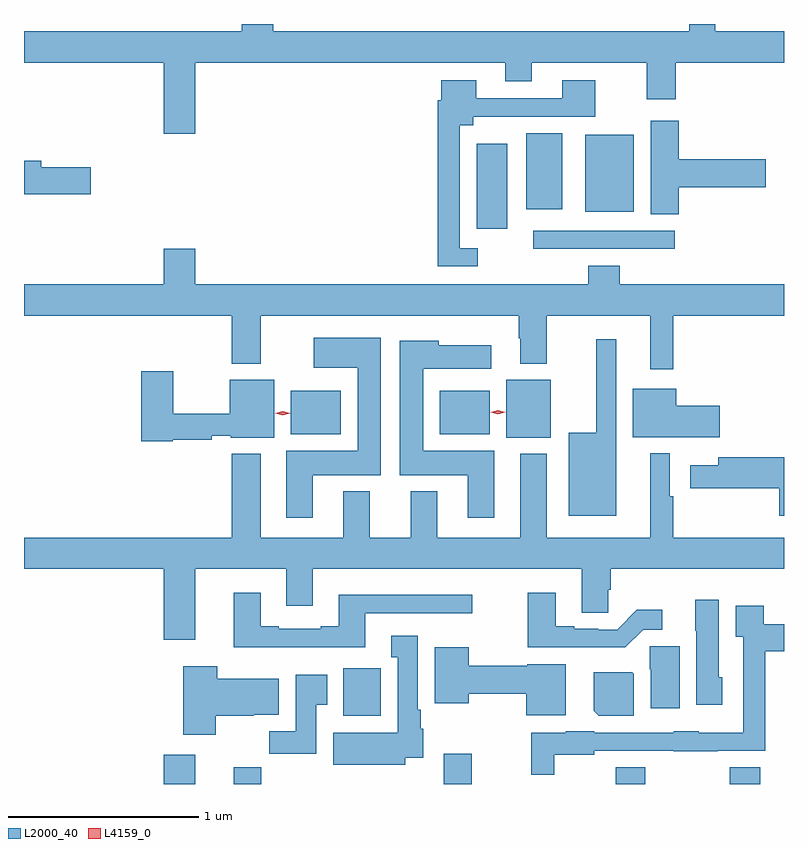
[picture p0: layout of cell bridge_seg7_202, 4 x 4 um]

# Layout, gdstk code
import gdstk
lib = gdstk.Library(unit=1e-6, precision=1e-09)
def R(c, l, rs):  # rectangles x0, y0, x1, y1
    for r in rs: c.add(gdstk.rectangle(r[:2], r[2:], *l))
def P(c, l, *ps):  # polygons
    for p in ps: c.add(gdstk.Polygon(p, *l))
L2000_40 = (2000, 40)
L4159_0 = (4159, 0)

bridge_seg7_202 = lib.new_cell('bridge_seg7_202')
R(bridge_seg7_202, L2000_40, [(224.948,1014.135,225.112,1014.289), (225.317,1014.135,225.461,1014.224), (226.421,1014.135,226.569,1014.295), (227.326,1014.135,227.481,1014.224), (227.926,1014.135,228.086,1014.224), (225.893,1014.494,226.089,1014.745), (226.751,1015.958,226.984,1016.263), (225.617,1015.976,225.88,1016.206), (226.4,1015.976,226.663,1016.206), (226.893,1016.952,227.638,1017.048), (226.595,1017.057,226.756,1017.505), (227.165,1017.146,227.422,1017.553), (226.856,1017.161,227.044,1017.559)])
P(bridge_seg7_202, L2000_40, [(225.112,1017.932),(226.745,1017.932),(226.745,1017.833),(226.885,1017.833),(226.885,1017.932),(227.489,1017.932),(227.489,1017.738),(227.642,1017.738),(227.642,1017.932),(228.212,1017.932),(228.212,1018.096),(227.849,1018.096),(227.849,1018.135),(227.713,1018.135),(227.713,1018.096),(225.524,1018.096),(225.524,1018.135),(225.359,1018.135),(225.359,1018.096),(224.212,1018.096),(224.212,1017.932),(224.948,1017.932),(224.948,1017.558),(225.112,1017.558)],
  [(226.6,1016.955),(226.506,1016.955),(226.506,1017.602),(226.576,1017.602),(226.576,1017.648),(227.218,1017.648),(227.218,1017.838),(227.045,1017.838),(227.045,1017.744),(226.591,1017.744),(226.591,1017.838),(226.409,1017.838),(226.409,1017.734),(226.39,1017.734),(226.39,1016.859),(226.6,1016.859)],
  [(227.657,1017.275),(228.115,1017.275),(228.115,1017.422),(227.657,1017.422),(227.657,1017.625),(227.51,1017.625),(227.51,1017.133),(227.657,1017.133)],
  [(224.563,1017.38),(224.302,1017.38),(224.302,1017.416),(224.212,1017.416),(224.212,1017.238),(224.563,1017.238)],
  [(227.629,1016.6),(228.212,1016.6),(228.212,1016.764),(227.348,1016.764),(227.348,1016.863),(227.183,1016.863),(227.183,1016.764),(225.112,1016.764),(225.112,1016.953),(224.948,1016.953),(224.948,1016.764),(224.212,1016.764),(224.212,1016.6),(225.305,1016.6),(225.305,1016.348),(225.457,1016.348),(225.457,1016.6),(226.816,1016.6),(226.816,1016.48),(226.823,1016.48),(226.823,1016.348),(226.963,1016.348),(226.963,1016.6),(227.507,1016.6),(227.507,1016.319),(227.629,1016.319)],
  [(225.733,1015.76),(226.09,1015.76),(226.09,1016.485),(225.738,1016.485),(225.738,1016.327),(225.968,1016.327),(225.968,1015.888),(225.593,1015.888),(225.593,1015.536),(225.733,1015.536)],
  [(227.329,1016.476),(227.225,1016.476),(227.225,1015.984),(227.078,1015.984),(227.078,1015.547),(227.329,1015.547)],
  [(226.687,1015.888),(226.312,1015.888),(226.312,1016.321),(226.672,1016.321),(226.672,1016.443),(226.395,1016.443),(226.395,1016.467),(226.19,1016.467),(226.19,1015.76),(226.547,1015.76),(226.547,1015.536),(226.687,1015.536)],
  [(224.994,1015.948),(225.2,1015.948),(225.2,1015.968),(225.3,1015.968),(225.3,1015.958),(225.529,1015.958),(225.529,1016.263),(225.296,1016.263),(225.296,1016.084),(224.998,1016.084),(224.998,1016.308),(224.828,1016.308),(224.828,1015.94),(224.994,1015.94)],
  [(227.875,1016.127),(227.644,1016.127),(227.644,1016.215),(227.417,1016.215),(227.417,1015.961),(227.875,1015.961)],
  [(225.112,1015.268),(225.593,1015.268),(225.593,1015.074),(225.733,1015.074),(225.733,1015.268),(227.147,1015.268),(227.147,1015.036),(227.286,1015.036),(227.286,1015.158),(227.3,1015.158),(227.3,1015.268),(228.212,1015.268),(228.212,1015.432),(227.629,1015.432),(227.629,1015.649),(227.611,1015.649),(227.611,1015.876),(227.507,1015.876),(227.507,1015.432),(226.963,1015.432),(226.963,1015.873),(226.823,1015.873),(226.823,1015.432),(226.387,1015.432),(226.387,1015.675),(226.247,1015.675),(226.247,1015.432),(226.033,1015.432),(226.033,1015.675),(225.893,1015.675),(225.893,1015.432),(225.457,1015.432),(225.457,1015.873),(225.305,1015.873),(225.305,1015.432),(224.212,1015.432),(224.212,1015.268),(224.948,1015.268),(224.948,1014.894),(225.112,1014.894)],
  [(228.212,1015.856),(227.867,1015.856),(227.867,1015.813),(227.718,1015.813),(227.718,1015.691),(228.188,1015.691),(228.188,1015.547),(228.212,1015.547)],
  [(227.472,1014.948),(227.572,1014.948),(227.572,1015.051),(227.437,1015.051),(227.334,1014.948),(227.234,1014.948),(227.234,1014.951),(227.107,1014.951),(227.107,1014.964),(227.011,1014.964),(227.011,1015.141),(226.864,1015.141),(226.864,1014.854),(227.377,1014.854)],
  [(226.009,1015.035),(226.57,1015.035),(226.57,1015.132),(225.869,1015.132),(225.869,1014.964),(225.773,1014.964),(225.773,1014.951),(225.553,1014.951),(225.553,1014.964),(225.457,1014.964),(225.457,1015.141),(225.317,1015.141),(225.317,1014.854),(226.009,1014.854)],
  [(227.887,1014.696),(227.869,1014.696),(227.869,1015.105),(227.744,1015.105),(227.744,1014.942),(227.75,1014.942),(227.75,1014.552),(227.887,1014.552)],
  [(227.002,1014.29),(227.214,1014.29),(227.214,1014.309),(227.631,1014.309),(227.631,1014.308),(227.863,1014.308),(227.863,1014.309),(228.113,1014.309),(228.113,1014.833),(228.212,1014.833),(228.212,1014.975),(228.106,1014.975),(228.106,1015.072),(227.957,1015.072),(227.957,1014.911),(227.997,1014.911),(227.997,1014.406),(227.763,1014.406),(227.763,1014.412),(227.631,1014.412),(227.631,1014.405),(227.214,1014.405),(227.214,1014.412),(227.064,1014.412),(227.064,1014.406),(226.881,1014.406),(226.881,1014.185),(227.002,1014.185)],
  [(226.219,1014.272),(226.312,1014.272),(226.312,1014.426),(226.3,1014.426),(226.3,1014.526),(226.285,1014.526),(226.285,1014.916),(226.145,1014.916),(226.145,1014.803),(226.178,1014.803),(226.178,1014.406),(225.839,1014.406),(225.839,1014.236),(226.219,1014.236)],
  [(227.662,1014.861),(227.506,1014.861),(227.506,1014.738),(227.51,1014.738),(227.51,1014.534),(227.662,1014.534)],
  [(227.062,1014.766),(226.86,1014.766),(226.86,1014.758),(226.552,1014.758),(226.552,1014.856),(226.373,1014.856),(226.373,1014.56),(226.552,1014.56),(226.552,1014.611),(226.856,1014.611),(226.856,1014.497),(227.062,1014.497)],
  [(225.22,1014.494),(225.42,1014.494),(225.42,1014.5),(225.553,1014.5),(225.553,1014.688),(225.228,1014.688),(225.228,1014.754),(225.05,1014.754),(225.05,1014.393),(225.22,1014.393)],
  [(227.422,1014.716),(227.414,1014.724),(227.21,1014.724),(227.21,1014.52),(227.236,1014.494),(227.422,1014.494)],
  [(225.751,1014.553),(225.808,1014.553),(225.808,1014.709),(225.641,1014.709),(225.641,1014.412),(225.502,1014.412),(225.502,1014.294),(225.751,1014.294)])
P(bridge_seg7_202, L4159_0, [(225.574,1016.077),(225.535,1016.086),(225.535,1016.087),(225.535,1016.087),(225.574,1016.097),(225.612,1016.087),(225.612,1016.087),(225.612,1016.087)],
  [(226.706,1016.082),(226.668,1016.092),(226.668,1016.092),(226.668,1016.092),(226.706,1016.102),(226.745,1016.092),(226.745,1016.092),(226.745,1016.092)])

lib.write_gds('bridge_seg7_202.gds')
